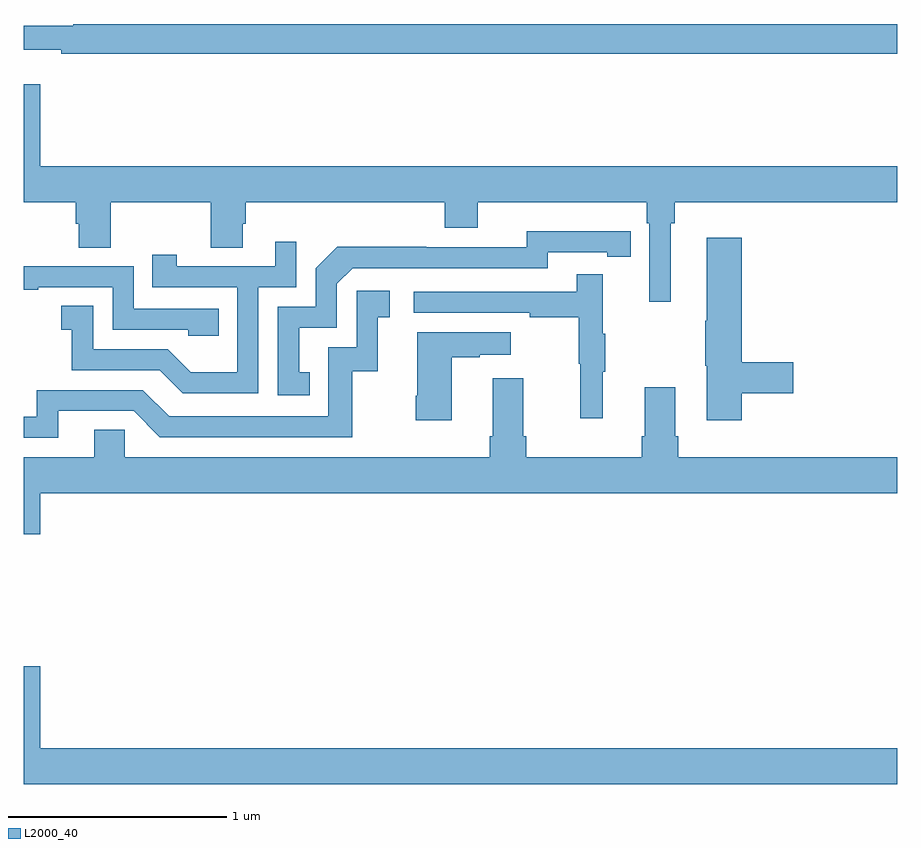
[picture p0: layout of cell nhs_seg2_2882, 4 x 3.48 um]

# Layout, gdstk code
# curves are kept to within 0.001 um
import gdstk
lib = gdstk.Library(unit=1e-6, precision=1e-09)
def P(c, l, *ps):  # polygons
    for p in ps: c.add(gdstk.Polygon(p, *l))
L2000_40 = (2000, 40)

nhs_seg2_2882 = lib.new_cell('nhs_seg2_2882')
P(nhs_seg2_2882, L2000_40, [(265,661.772),(261.227,661.772),(261.227,661.765),(261,661.765),(261,661.655),(261.172,661.655),(261.172,661.636),(265,661.636)],
  [(261.076,661.495),(261,661.495),(261,660.956),(261.239,660.956),(261.239,660.858),(261.251,660.858),(261.251,660.748),(261.399,660.748),(261.399,660.956),(261.856,660.956),(261.856,660.748),(262.003,660.748),(262.003,660.858),(262.016,660.858),(262.016,660.956),(262.928,660.956),(262.928,660.839),(263.08,660.839),(263.08,660.956),(263.852,660.956),(263.852,660.86),(263.865,660.86),(263.865,660.501),(263.962,660.501),(263.962,660.86),(263.981,660.86),(263.981,660.956),(265,660.956),(265,661.12),(261.076,661.12)],
  [(262.31,660.177),(262.261,660.177),(262.261,660.381),(262.434,660.381),(262.434,660.582),(262.506,660.654),(263.4,660.654),(263.4,660.726),(263.672,660.726),(263.672,660.706),(263.78,660.706),(263.78,660.822),(263.304,660.823),(263.304,660.75),(262.844,660.75),(262.844,660.752),(262.436,660.752),(262.338,660.654),(262.338,660.477),(262.164,660.477),(262.164,660.072),(262.31,660.072)],
  [(264.287,660.082),(264.523,660.082),(264.523,660.224),(264.287,660.224),(264.287,660.793),(264.128,660.793),(264.128,660.413),(264.121,660.413),(264.121,660.207),(264.128,660.207),(264.128,659.958),(264.287,659.958)],
  [(262.074,660.567),(262.248,660.567),(262.248,660.775),(262.151,660.775),(262.151,660.663),(261.7,660.663),(261.7,660.715),(261.589,660.715),(261.589,660.567),(261.978,660.567),(261.978,660.178),(261.764,660.178),(261.66,660.282),(261.318,660.282),(261.318,660.481),(261.171,660.481),(261.171,660.371),(261.22,660.371),(261.22,660.186),(261.623,660.186),(261.728,660.081),(262.074,660.081)],
  [(261.893,660.468),(261.504,660.468),(261.504,660.663),(261,660.663),(261,660.555),(261.067,660.555),(261.067,660.567),(261.408,660.567),(261.408,660.372),(261.753,660.372),(261.753,660.345),(261.893,660.345)],
  [(263.651,660.179),(263.662,660.179),(263.662,660.353),(263.651,660.353),(263.651,660.625),(263.533,660.625),(263.533,660.546),(262.785,660.546),(262.785,660.45),(263.317,660.45),(263.317,660.43),(263.541,660.43),(263.541,660.216),(263.548,660.216),(263.548,659.967),(263.651,659.967)],
  [(261.157,660),(261.504,660),(261.624,659.88),(262.504,659.88),(262.504,660.183),(262.622,660.183),(262.622,660.429),(262.675,660.429),(262.675,660.55),(262.524,660.55),(262.524,660.291),(262.395,660.291),(262.395,659.976),(261.666,659.976),(261.546,660.096),(261.06,660.096),(261.06,659.973),(261,659.973),(261,659.877),(261.157,659.877)],
  [(262.96,660.247),(263.087,660.247),(263.087,660.257),(263.23,660.257),(263.23,660.361),(262.802,660.361),(262.802,660.07),(262.795,660.07),(262.795,659.958),(262.96,659.958)],
  [(261.076,659.624),(265,659.624),(265,659.788),(263.996,659.788),(263.996,659.884),(263.983,659.884),(263.983,660.109),(263.843,660.109),(263.843,659.884),(263.831,659.884),(263.831,659.788),(263.3,659.788),(263.3,659.884),(263.287,659.884),(263.287,660.151),(263.147,660.151),(263.147,659.884),(263.135,659.884),(263.135,659.788),(261.462,659.788),(261.462,659.915),(261.323,659.915),(261.323,659.788),(261,659.788),(261,659.436),(261.076,659.436)],
  [(265,658.456),(261.076,658.456),(261.076,658.831),(261,658.831),(261,658.292),(265,658.292)])

lib.write_gds('nhs_seg2_2882.gds')
